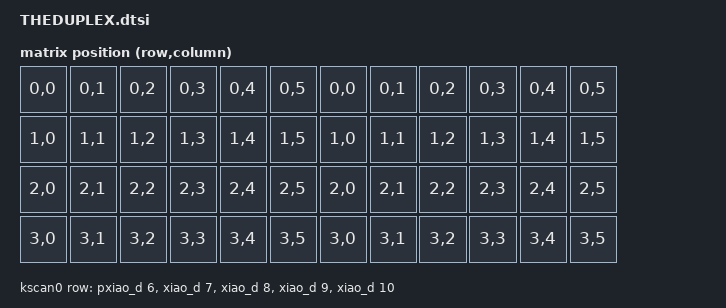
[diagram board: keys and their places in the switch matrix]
#include <dt-bindings/zmk/matrix_transform.h> // Put this with the other includes at the top of your dtsi
/ {
    kscan0: kscan0 {
        compatible = "zmk,kscan-gpio-matrix";
        diode-direction = "col2row";
        wakeup-source;

        row-gpios
            = <&pxiao_d 6 (GPIO_ACTIVE_HIGH | GPIO_PULL_DOWN)>
            , <&xiao_d 7 (GPIO_ACTIVE_HIGH | GPIO_PULL_DOWN)>
            , <&xiao_d 8 (GPIO_ACTIVE_HIGH | GPIO_PULL_DOWN)>
            , <&xiao_d 9 (GPIO_ACTIVE_HIGH | GPIO_PULL_DOWN)>
            , <&xiao_d 10 (GPIO_ACTIVE_HIGH | GPIO_PULL_DOWN)>
            ;


/ {
    default_transform: keymap_transform0 {
        compatible = "zmk,matrix-transform";
        columns = <12>;
        rows = <4>;
        map = <
        //  LKey 1 |LKey 2 |LKey 3 LKey 4 |LKey 5 |LKey 6         RKey 1 |RKey 2 |RKey 3      RKey 4 |RKey 5 |RKey 6    
          
            RC(0,0) RC(0,1) RC(0,2) RC(0,3) RC(0,4) RC(0,5)       RC(0,0) RC(0,1) RC(0,2) RC(0,3) RC(0,4) RC(0,5)
        //  LKey 7 |LKey 8 |LKey 9 LKey 10 |LKey 11 |LKey 12      RKey 7 |RKey 8 |RKey 9      RKey 10 |RKey 11 |RKey 12

           
            RC(1,0) RC(1,1) RC(1,2) RC(1,3) RC(1,4) RC(1,5)        RC(1,0) RC(1,1) RC(1,2) RC(1,3) RC(1,4) RC(1,5)       
      
        //  LKey 13 |LKey 14 |LKey 15  LKey 16 |LKey 17|LKey 18   RKey 13 |RKey 14 |RKey 15      RKey 16 |RKey 17 |RKey 18    
           
            RC(2,0) RC(2,1) RC(2,2) RC(2,3) RC(2,4) RC(2,5)       RC(2,0) RC(2,1) RC(2,2) RC(2,3) RC(2,4) RC(2,5)


        //  LKey 19 |LKey 20 |LKey 21  LKey 22 |LKey 23 |LKey 24   RKey 19 |RKey 20 |RKey 21      RKey 22 |RKey 23 |RKey 24    
           
            RC(3,0) RC(3,1) RC(3,2) RC(3,3) RC(3,4) RC(3,5)       RC(3,0) RC(3,1) RC(3,2) RC(3,3) RC(3,4) RC(3,5)
        >;
    };
};
    };
};
